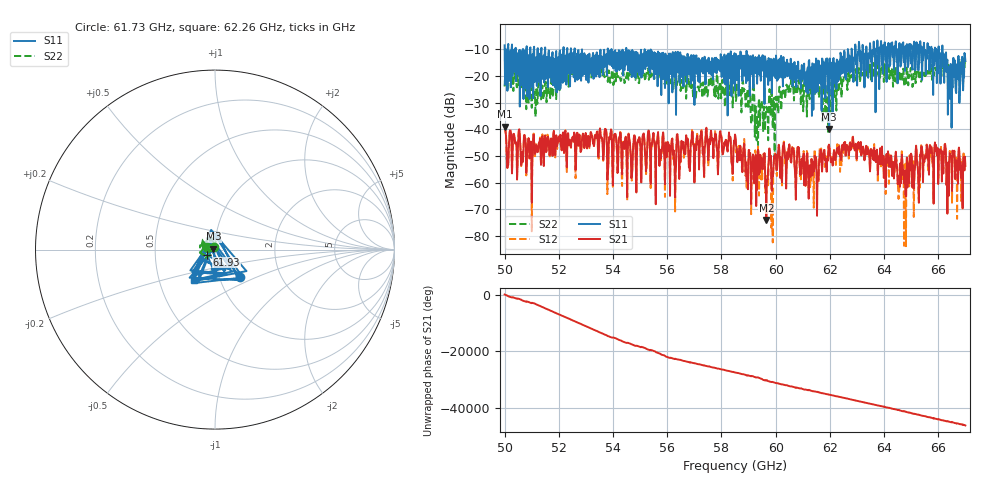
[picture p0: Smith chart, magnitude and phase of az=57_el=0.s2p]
!Created with skrf (http://scikit-rf.org).
# GHz S RI R 50.0
!freq ReS11 ImS11 ReS21 ImS21 ReS12 ImS12 ReS22 ImS22
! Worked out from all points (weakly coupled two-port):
!   1001 points, 50 GHz to 67 GHz, reference 50 ohm
!   highest |S21| = -39.00 dB at 50 GHz (marker M1); lowest = -74.0 dB at 59.66 GHz (marker M2)
!   lowest |S11| = -39.8 dB at 61.97 GHz (marker M3), VSWR 1.02, Z = 49.1 + j0.456 ohm
!   |S11| at or under -10 dB: 52.86 GHz to 53.81 GHz (950.3 MHz wide, 1.78 % of centre); 55.17 GHz to 62.66 GHz (7.496 GHz wide, 12.7 % of centre); 66.16 GHz to end of sweep (the widest 3 of 57)
!   |S22| runs from -52.5 to -13.4 dB; largest |S21 - S12| = 0.0026
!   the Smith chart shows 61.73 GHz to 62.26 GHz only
!   S11 on the Smith chart (normalised r, x): 61.73 GHz: 1.25, -0.40; 61.93 GHz: 0.91, -0.05; 62.26 GHz: 0.75, -0.26
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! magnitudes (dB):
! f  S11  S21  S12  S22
! 50 GHz  -8.4  -39.0  -39.1  -23.9
! 50.95 GHz  -9.2  -46.5  -46.1  -22.0
! 52.84 GHz  -13.0  -46.4  -47.4  -19.5
! 55.68 GHz  -13.4  -44.6  -45.0  -21.0
! 56.24 GHz  -19.9  -47.9  -50.3  -23.2
! 57.19 GHz  -22.4  -47.9  -49.1  -25.7
! 58.5 GHz  -25.3  -42.0  -43.4  -23.8
! 59.66 GHz  -14.5  -74.0  -64.0  -31.5
! 59.93 GHz  -13.4  -52.0  -54.4  -28.2
! 60.03 GHz  -14.8  -55.4  -56.5  -31.6
! 60.56 GHz  -13.5  -49.9  -52.1  -22.8
! 61.34 GHz  -35.0  -52.6  -51.6  -27.5
! 61.73 GHz  -13.8  -52.8  -49.9  -37.0
! 61.93 GHz  -25.5  -49.7  -51.4  -41.0
! 61.97 GHz  -39.8  -45.7  -47.6  -22.8
! 62.26 GHz  -13.8  -47.4  -48.4  -24.3
! 64.18 GHz  -11.9  -54.1  -60.5  -17.3
! 64.79 GHz  -8.8  -64.5  -62.1  -21.3
! 65.44 GHz  -14.1  -59.9  -56.8  -20.4
! 66.1 GHz  -13.0  -48.4  -46.2  -18.5
! 66.44 GHz  -28.6  -50.1  -49.3  -16.5
! 67 GHz  -14.4  -53.8  -52.9  -14.2
